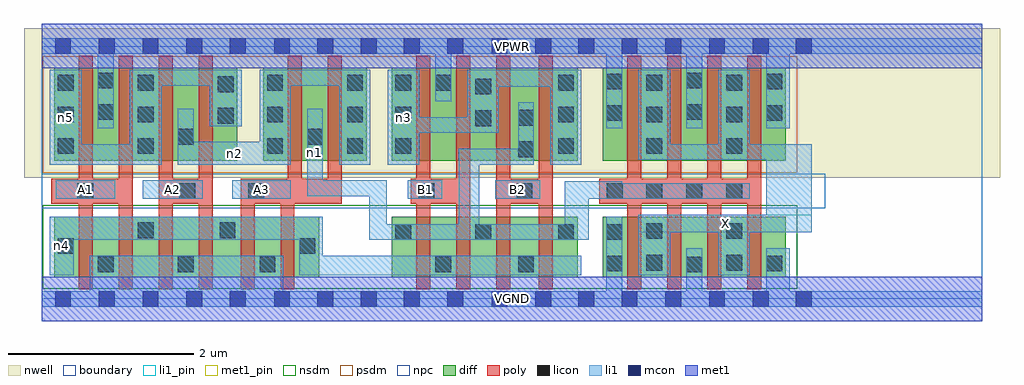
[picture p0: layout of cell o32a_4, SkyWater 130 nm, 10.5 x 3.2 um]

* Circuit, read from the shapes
.subckt o32a_4 A1 A2 A3 B1 B2 VGND VPWR X n1 n2 n3 n4 n5
XM1 VGND A1 n4 VSUBS sky130_fd_pr__nfet_01v8 w=0.65 l=0.15 m=2
XM2 VGND A2 n4 VSUBS sky130_fd_pr__nfet_01v8 w=0.65 l=0.15 m=2
XM3 VGND A3 n4 VSUBS sky130_fd_pr__nfet_01v8 w=0.65 l=0.15 m=2
XM4 n4 B1 n1 VSUBS sky130_fd_pr__nfet_01v8 w=0.65 l=0.15 m=2
XM5 n4 B2 n1 VSUBS sky130_fd_pr__nfet_01v8 w=0.65 l=0.15 m=2
XM6 X n1 VGND VSUBS sky130_fd_pr__nfet_01v8 w=0.65 l=0.15 m=4
XM7 VPWR A1 n5 n6 sky130_fd_pr__pfet_01v8 w=1 l=0.15 m=2
XM8 n2 A2 n5 n6 sky130_fd_pr__pfet_01v8 w=1 l=0.15 m=2
XM9 n1 A3 n2 n6 sky130_fd_pr__pfet_01v8 w=1 l=0.15 m=2
XM10 VPWR B1 n3 n6 sky130_fd_pr__pfet_01v8 w=1 l=0.15 m=2
XM11 n1 B2 n3 n6 sky130_fd_pr__pfet_01v8 w=1 l=0.15 m=2
XM12 X n1 VPWR n6 sky130_fd_pr__pfet_01v8 w=1 l=0.15 m=4
.ends

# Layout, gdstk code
import gdstk
lib = gdstk.Library(unit=1e-6, precision=1e-09)
def R(c, l, rs):  # rectangles x0, y0, x1, y1
    for r in rs: c.add(gdstk.rectangle(r[:2], r[2:], *l))
def A(c, l, x, y, w, h, nx, ny, dx, dy):  # array of equal rectangles
    R(c, l, [(x+i*dx, y+j*dy, x+i*dx+w, y+j*dy+h) for i in range(nx) for j in range(ny)])
nwell = (64, 20)
diff = (65, 20)
poly = (66, 20)
licon = (66, 44)
li1_pin = (67, 16)
li1 = (67, 20)
mcon = (67, 44)
met1_pin = (68, 16)
met1 = (68, 20)
nsdm = (93, 44)
psdm = (94, 20)
npc = (95, 20)
boundary = (235, 4)

o32a_4 = lib.new_cell('o32a_4')
R(o32a_4, nwell, [(-0.19,1.305,10.31,2.91), (0,1.305,10.12,2.91)])
R(o32a_4, diff, [(0.135,0.235,2.985,0.885), (3.765,0.235,5.765,0.885), (6.035,0.235,8.005,0.885), (0.135,1.485,2.105,2.485), (2.385,1.485,3.495,2.485), (3.765,1.485,5.765,2.485), (6.035,1.485,8.005,2.485)])
A(o32a_4, poly, 0.4, 0.105, 0.15, 2.51, 4, 1, 0.43, 0)
A(o32a_4, poly, 4.03, 0.105, 0.15, 2.51, 3, 1, 0.43, 0)
A(o32a_4, poly, 6.3, 0.105, 0.15, 2.51, 4, 1, 0.43, 0)
R(o32a_4, poly, [(2.14,0.105,2.29,1.295), (2.57,0.105,2.72,1.295), (5.35,0.105,5.5,2.615), (0.105,1.025,0.98,1.295), (1.26,1.025,1.84,1.295), (2.14,1.025,3.23,1.295), (2.65,1.025,2.8,2.615), (3.08,1.025,3.23,2.615), (3.97,1.025,4.61,1.295), (4.89,1.025,5.5,1.295), (6,1.025,7.74,1.295)])
A(o32a_4, licon, 6.505, 1.075, 0.17, 0.17, 3, 1, 0.43, 0)
A(o32a_4, licon, 0.175, 1.56, 0.17, 0.17, 1, 3, 0, 0.34)
A(o32a_4, licon, 1.035, 1.56, 0.17, 0.17, 1, 3, 0, 0.34)
A(o32a_4, licon, 2.425, 1.56, 0.17, 0.17, 1, 3, 0, 0.34)
A(o32a_4, licon, 3.285, 1.56, 0.17, 0.17, 1, 3, 0, 0.34)
A(o32a_4, licon, 3.805, 1.56, 0.17, 0.17, 1, 3, 0, 0.34)
A(o32a_4, licon, 5.555, 1.56, 0.17, 0.17, 1, 3, 0, 0.34)
A(o32a_4, licon, 6.505, 1.56, 0.17, 0.17, 1, 3, 0, 0.34)
A(o32a_4, licon, 7.365, 1.56, 0.17, 0.17, 1, 3, 0, 0.34)
R(o32a_4, licon, [(0.605,0.285,0.775,0.455), (1.465,0.285,1.635,0.455), (2.345,0.285,2.515,0.455), (4.235,0.285,4.405,0.455), (5.125,0.285,5.295,0.455), (6.935,0.285,7.105,0.455), (6.075,0.295,6.245,0.465), (7.795,0.295,7.965,0.465), (6.505,0.305,6.675,0.475), (7.365,0.305,7.535,0.475), (0.175,0.485,0.345,0.655), (2.775,0.485,2.945,0.655), (3.805,0.635,3.975,0.805), (4.665,0.635,4.835,0.805), (5.555,0.635,5.725,0.805), (6.075,0.635,6.245,0.805), (6.505,0.645,6.675,0.815), (7.365,0.645,7.535,0.815), (1.035,0.655,1.205,0.825), (1.915,0.655,2.085,0.825), (0.385,1.075,0.555,1.245), (1.48,1.075,1.65,1.245), (2.225,1.075,2.395,1.245), (4.055,1.075,4.225,1.245), (5.11,1.075,5.28,1.245), (6.08,1.075,6.25,1.245), (5.125,1.525,5.295,1.695), (1.465,1.66,1.635,1.83), (2.855,1.66,3.025,1.83), (4.665,1.86,4.835,2.03), (5.125,1.865,5.295,2.035), (1.895,1.885,2.065,2.055), (6.075,1.915,6.245,2.085), (7.795,1.915,7.965,2.085), (0.605,1.925,0.775,2.095), (6.935,1.925,7.105,2.095), (4.665,2.2,4.835,2.37), (1.895,2.225,2.065,2.395), (4.235,2.24,4.405,2.41), (6.075,2.255,6.245,2.425), (7.795,2.255,7.965,2.425), (0.605,2.265,0.775,2.435), (6.935,2.265,7.105,2.435)])
R(o32a_4, li1_pin, [(6.42,0.715,8.285,0.905), (0.15,1.075,0.79,1.275), (1.09,1.075,1.735,1.275), (2.05,1.075,2.68,1.275), (3.94,1.075,4.31,1.275), (4.88,1.075,5.365,1.275)])
R(o32a_4, li1, [(0,-0.085,10.12,0.085), (0.52,-0.085,2.6,0.465), (6.075,-0.085,6.245,0.885), (6.935,-0.085,7.105,0.545), (7.795,-0.085,8.05,0.545), (0.085,0.255,0.345,0.885), (2.77,0.255,5.805,0.465), (2.77,0.255,3.025,0.885), (6.42,0.255,6.76,0.905), (7.28,0.255,7.62,0.905), (0.085,0.635,3.025,0.885), (3.525,0.635,5.885,0.805), (3.525,0.635,3.715,1.275), (4.485,0.635,4.71,1.615), (5.63,0.635,5.885,1.265), (6.42,0.715,8.285,0.905), (7.795,0.715,8.285,1.665), (0.15,1.075,0.79,1.275), (1.09,1.075,1.735,1.275), (2.05,1.075,2.68,1.275), (3.94,1.075,4.31,1.275), (4.88,1.075,5.365,1.275), (5.63,1.075,7.62,1.245), (5.63,1.075,6.245,1.265), (2.855,1.105,3.025,2.045), (2.855,1.105,3.715,1.275), (0.085,1.445,0.43,2.465), (0.085,1.445,1.29,1.665), (0.95,1.445,1.29,2.465), (1.465,1.445,2.68,1.69), (1.465,1.445,1.635,2.045), (2.345,1.445,2.68,2.465), (3.2,1.445,3.535,2.465), (3.725,1.445,4.06,2.465), (4.485,1.445,5.295,1.615), (5.125,1.445,5.295,2.115), (5.47,1.445,5.805,2.465), (6.42,1.495,6.76,2.465), (6.42,1.495,8.285,1.665), (7.28,1.495,7.62,2.465), (3.725,1.785,4.92,1.955), (4.58,1.785,4.92,2.465), (0.605,1.835,0.775,2.805), (6.075,1.835,6.245,2.805), (6.935,1.835,7.105,2.805), (7.795,1.835,8.05,2.805), (1.81,1.86,2.15,2.465), (4.235,2.125,4.405,2.805), (4.58,2.285,5.805,2.465), (0.95,2.295,2.15,2.465), (2.345,2.295,3.535,2.465), (0,2.635,10.12,2.805)])
A(o32a_4, mcon, 0.145, -0.085, 0.17, 0.17, 5, 2, 0.47, 2.72)
A(o32a_4, mcon, 5.31, -0.085, 0.17, 0.17, 3, 2, 0.465, 2.72)
A(o32a_4, mcon, 6.71, -0.085, 0.17, 0.17, 3, 2, 0.47, 2.72)
R(o32a_4, mcon, [(2.5,-0.085,2.67,0.085), (2.965,-0.085,3.135,0.085), (3.435,-0.085,3.605,0.085), (3.895,-0.085,4.065,0.085), (4.365,-0.085,4.535,0.085), (4.84,-0.085,5.01,0.085), (8.115,-0.085,8.285,0.085), (2.5,2.635,2.67,2.805), (2.965,2.635,3.135,2.805), (3.435,2.635,3.605,2.805), (3.895,2.635,4.065,2.805), (4.365,2.635,4.535,2.805), (4.84,2.635,5.01,2.805), (8.115,2.635,8.285,2.805)])
R(o32a_4, met1_pin, [(0,-0.24,10.12,0.24), (0,2.48,10.12,2.96)])
R(o32a_4, met1, [(0,-0.24,10.12,0.24), (0,2.48,10.12,2.96)])
R(o32a_4, nsdm, [(0.01,0.11,8.13,1.01)])
R(o32a_4, psdm, [(0.01,1.36,8.13,2.61)])
R(o32a_4, npc, [(0,0.975,8.43,1.345)])
R(o32a_4, boundary, [(0,0,10.12,2.72)])
o32a_4.add(gdstk.Label('A1', (0.47,1.175), layer=67, texttype=5))
o32a_4.add(gdstk.Label('A2', (1.412,1.175), layer=67, texttype=5))
o32a_4.add(gdstk.Label('A3', (2.365,1.175), layer=67, texttype=5))
o32a_4.add(gdstk.Label('B1', (4.125,1.175), layer=67, texttype=5))
o32a_4.add(gdstk.Label('B2', (5.122,1.175), layer=67, texttype=5))
o32a_4.add(gdstk.Label('X', (7.352,0.81), layer=67, texttype=5))
o32a_4.add(gdstk.Label('n4', (0.215,0.57), layer=67, texttype=5))
o32a_4.add(gdstk.Label('n1', (2.94,1.575), layer=67, texttype=5))
o32a_4.add(gdstk.Label('n5', (0.257,1.955), layer=67, texttype=5))
o32a_4.add(gdstk.Label('n2', (2.072,1.567), layer=67, texttype=5))
o32a_4.add(gdstk.Label('n3', (3.892,1.955), layer=67, texttype=5))
o32a_4.add(gdstk.Label('VPWR', (5.06,2.72), layer=68, texttype=5))
o32a_4.add(gdstk.Label('VGND', (5.06,0), layer=68, texttype=5))
o32a_4.add(gdstk.Label('A1', (0.47,1.175), layer=67, texttype=16))
o32a_4.add(gdstk.Label('A2', (1.412,1.175), layer=67, texttype=16))
o32a_4.add(gdstk.Label('A3', (2.365,1.175), layer=67, texttype=16))
o32a_4.add(gdstk.Label('B1', (4.125,1.175), layer=67, texttype=16))
o32a_4.add(gdstk.Label('B2', (5.122,1.175), layer=67, texttype=16))
o32a_4.add(gdstk.Label('X', (7.352,0.81), layer=67, texttype=16))
o32a_4.add(gdstk.Label('VPWR', (5.06,2.72), layer=68, texttype=16))
o32a_4.add(gdstk.Label('VGND', (5.06,0), layer=68, texttype=16))

lib.write_gds('o32a_4.gds')
